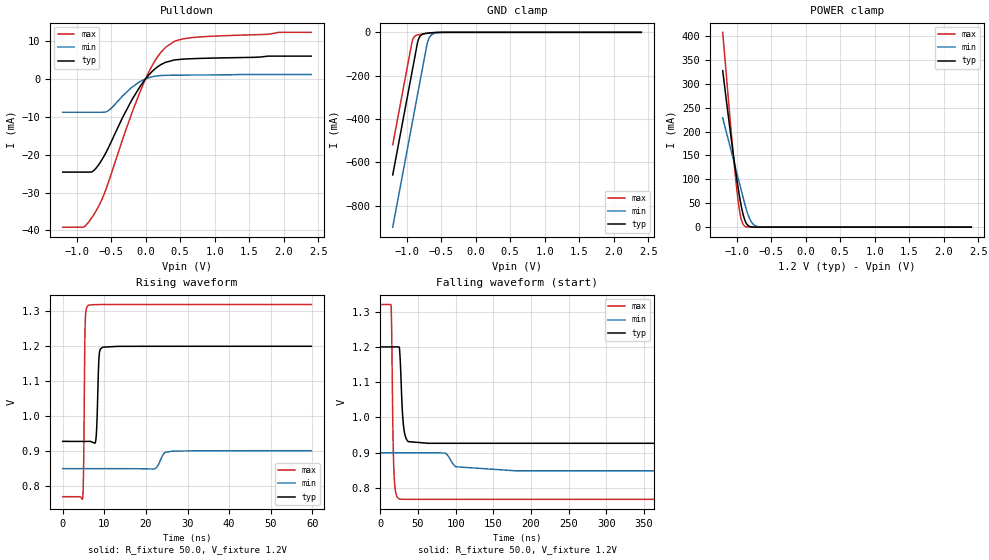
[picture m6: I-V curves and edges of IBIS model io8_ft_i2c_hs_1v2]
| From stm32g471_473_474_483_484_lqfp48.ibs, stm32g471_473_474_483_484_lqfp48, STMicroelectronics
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[Model]   io8_ft_i2c_hs_1v2
Model_type I/O_open_drain
Polarity   Non-Inverting
Enable   Active-Low
| CAP_THRESHOLD on pad IOFT is "UDTCAPC" :
| Rising=30.0% of vddiom   Falling=70.0% of vddiom
| C_comp min and max val. don't necessarily correlate with the min and max pvt
| but are the smallest and greatest pad capacitance found.
| var   typ   min   max
C_comp   2.04020pF  1.89090pF  2.07595pF
|C_comp_pulldown   2.04020pF  1.89090pF  2.07595pF
Vinl = 450.0mV
Vinh = 660.0mV
Vmeas = 600.0mV   | Reference voltage for timing measurements
Cref  = 50.0pF   | Timing specification test load capacitance value
Rref  = 1.0MOhm   | Timing specification test load resistance value
Vref  = 660.0mV   | Timing specification test load voltage
[Model Spec]
| TIME_THRESHOLD on pin ZIV12 is "CMOS" :
| Rising=50.0% of vdd   Falling=50.0% of vdd
Vinl 458.70000mV 361.70000mV 499.70000mV
Vinh 728.30000mV 549.30000mV 792.30000mV
| variable   typ   min   max
[Temperature Range] 25.0 125.0 -40.0
| variable   typ   min   max
[Voltage Range] 1.2V 900.0mV 1.32V
| variable   typ   min   max
[POWER Clamp Reference] 1.2V 900.0mV 1.32V
| variable   typ   min   max
[GND Clamp Reference] 0V 0V 0V
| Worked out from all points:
|   slope of the pulldown table from 0 to 0.18 V, typ, clamps not added: 55.2 ohm
|   GND clamp passes 1 mA (typ) near -0.58 V on its own axis
|   POWER clamp passes 1 mA (typ) near -0.80 V on its own axis
|   rising waveform, R_fixture 50.0, V_fixture 1.2V: 20-80 % time 408ps typ, 1.23ns min, 265ps max; typ from 0.927 V to 1.2 V
|   falling waveform, R_fixture 50.0, V_fixture 1.2V: 20-80 % time 3.75ns typ, 19.3ns min, 2.25ns max; typ from 1.2 V to 0.927 V
[POWER Clamp]
-1.2V     327.4mA    228.8mA    407.7mA
-1.07V    177.7mA    155.3mA    188.5mA
-1.03V    134.8mA    132.7mA    126.3mA
-990mV    94.58mA    110.1mA    71.25mA
-960mV    67.13mA    93.17mA    38.08mA
-940mV    50.68mA    81.87mA    21.78mA
-910mV    29.83mA    64.92mA    7.377mA
-880mV    14.86mA    48.18mA    2.007mA
-840mV    4.466mA    28.96mA    309.8uA
-780mV    528.8uA    9.884mA    17.79uA
-670mV    8.746uA    604.9uA    93.25nA
2.4V      0A         0A         0A
[GND Clamp]
-1.2V     -658.2mA   -898.9mA   -519.3mA
-930mV    -199.2mA   -439.9mA   -60.33mA
-910mV    -165.2mA   -405.9mA   -33.58mA
-880mV    -114.2mA   -354.9mA   -18.36mA
-840mV    -46.85mA   -286.9mA   -12.24mA
-820mV    -26.85mA   -252.9mA   -10.71mA
-780mV    -11.1mA    -184.9mA   -8.327mA
-700mV    -4.004mA   -51.26mA   -4.515mA
-670mV    -2.946mA   -24.79mA   -3.345mA
-640mV    -2.117mA   -12.56mA   -2.341mA
-440mV    -36.45uA   -184.8uA   -16.55uA
2.4V      304.1pA    36.47nA    206.9pA
| variable   typ   min   max
[Pullup Reference] 1.2V 900.0mV 1.32V
| variable   typ   min   max
[Pulldown Reference] 0V 0V 0V
[Pulldown]
-1.2V     -24.6mA    -8.807mA   -39.12mA
-890mV    -24.6mA    -8.807mA   -39.02mA
-780mV    -24.54mA   -8.807mA   -36.66mA
-710mV    -23.4mA    -8.807mA   -34.61mA
-530mV    -17.87mA   -8.266mA   -26.91mA
-330mV    -10.09mA   -4.455mA   -15.79mA
-80mV     -2.02mA    -710uA     -3.413mA
110mV     2.211mA    605.8uA    3.97mA
290mV     4.374mA    930.5uA    8.331mA
420mV     4.991mA    971.4uA    9.931mA
670mV     5.322mA    1.008mA    10.89mA
2.4V      6mA        1.156mA    12.28mA
[Ramp]
dV/dt_r 163.88871mV/405.68238ps 30.80294mV/1.22423ns 331.1784mV/262.49272ps
dV/dt_f 163.89626mV/3.74198ns 30.81962mV/10.37298ns 331.18354mV/2.24636ns
R_load = 50.0
| Removed startup time: 0s 0s 0s  .
| Removed end time: 59.75ns.
[Rising Waveform]
R_fixture   = 50.0
V_fixture   = 1.2V
V_fixture_min = 900.0mV
V_fixture_max = 1.32V
0s        926.8mV    848.6mV    768mV
4.8ns     926.7mV    848.6mV    763.7mV
5.05ns    926.7mV    848.6mV    874.4mV
5.3ns     926.7mV    848.6mV    1.194V
5.4ns     926.7mV    848.6mV    1.264V
6.05ns    926.8mV    848.6mV    1.316V
7.95ns    929.9mV    848.6mV    1.32V
8.75ns    1.172V     848.6mV    1.32V
9.65ns    1.197V     848.6mV    1.32V
59.75ns   1.2V       900mV      1.32V
| Removed startup time: 0s 0s 0s  .
| Removed end time: 899.75ns.
[Falling Waveform]
R_fixture   = 50.0
V_fixture   = 1.2V
V_fixture_min = 900.0mV
V_fixture_max = 1.32V
0s        1.2V       900mV      1.32V
14.5ns    1.2V       900mV      1.315V
16.75ns   1.2V       900mV      965.7mV
18ns      1.2V       900mV      854.1mV
20.5ns    1.2V       900mV      787.7mV
25.5ns    1.196V     900mV      769.2mV
30.5ns    983.7mV    900mV      768.1mV
37.25ns   931.5mV    900mV      768mV
181.5ns   926.8mV    848.6mV    768mV
899.8ns   926.8mV    848.6mV    768mV
